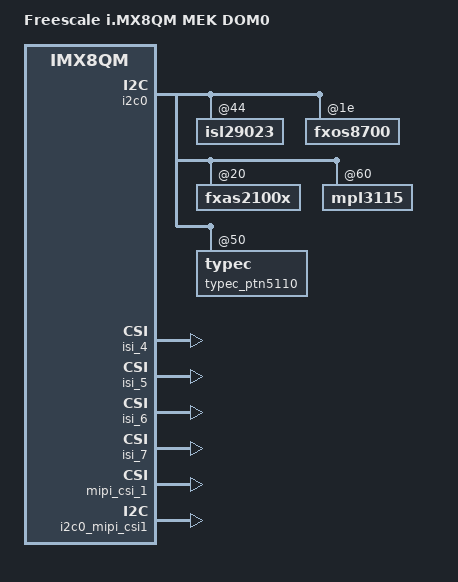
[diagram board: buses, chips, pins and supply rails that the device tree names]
/*
 * Copyright 2018 NXP
 *
 * This program is free software; you can redistribute it and/or
 * modify it under the terms of the GNU General Public License
 * as published by the Free Software Foundation; either version 2
 * of the License, or (at your option) any later version.
 *
 * This program is distributed in the hope that it will be useful,
 * but WITHOUT ANY WARRANTY; without even the implied warranty of
 * MERCHANTABILITY or FITNESS FOR A PARTICULAR PURPOSE.  See the
 * GNU General Public License for more details.
 */

/dts-v1/;

/memreserve/ 0x84000000 0x4000000;
/memreserve/ 0x90000000 0x400000;
/memreserve/ 0x90400000 0x2000000;
/memreserve/ 0x92400000 0x2000000;
/memreserve/ 0x94400000 0x1800000;

#include "fsl-imx8qm-mek.dtsi"
#include "fsl-imx8qm-xen.dtsi"

/ {
	model = "Freescale i.MX8QM MEK DOM0";
	compatible = "fsl,imx8qm-mek", "fsl,imx8qm";

	chosen {
		#address-cells = <2>;
		#size-cells = <2>;

		/* Could be updated by U-Boot */
		module@0 {
			bootargs = "earlycon=xen console=hvc0 loglevel=8 root=/dev/mmcblk1p2 rw  rootwait";
			compatible = "xen,linux-zimage", "xen,multiboot-module";
			reg = <0x00000000 0x80a00000 0x00000000 0xf93a00>;
               };
	};

	domu {
		/*
		 * There are 5 MUs, 0A is used by Dom0, 1A is used
		 * by ATF, so for DomU, 2A/3A/4A could be used.
		 * SC_R_MU_0A
		 * SC_R_MU_1A
		 * SC_R_MU_2A
		 * SC_R_MU_3A
		 * SC_R_MU_4A
		 * The rsrcs and pads will be configured by uboot scu_rm cmd
		 */
		#address-cells = <1>;
		#size-cells = <0>;
		doma {
			compatible = "xen,domu";
			/*
			 * The name entry in VM configuration file
			 * needs to be same as here.
			 */
			domain_name = "DomU";
			/*
			 * The reg property will be updated by U-Boot to
			 * reflect the partition id.
			 */
			reg = <0>;
			init_on_rsrcs = <
				SC_R_MU_2A
			>;
			rsrcs = <
				SC_R_MU_6A
				SC_R_GPU_0_PID0
				SC_R_GPU_0_PID1
				SC_R_GPU_0_PID2
				SC_R_GPU_0_PID3
				SC_R_LVDS_0
				SC_R_LVDS_0_I2C_0
				SC_R_LVDS_0_PWM_0
				SC_R_DC_0
				SC_R_DC_0_BLIT0
				SC_R_DC_0_BLIT1
				SC_R_DC_0_BLIT2
				SC_R_DC_0_BLIT_OUT
				SC_R_DC_0_CAPTURE0
				SC_R_DC_0_CAPTURE1
				SC_R_DC_0_WARP
				SC_R_DC_0_INTEGRAL0
				SC_R_DC_0_INTEGRAL1
				SC_R_DC_0_VIDEO0
				SC_R_DC_0_VIDEO1
				SC_R_DC_0_FRAC0
				SC_R_DC_0_FRAC1
				SC_R_DC_0_PLL_0
				SC_R_DC_0_PLL_1
				SC_R_MIPI_0
				SC_R_MIPI_0_I2C_0
				SC_R_MIPI_0_I2C_1
				SC_R_MIPI_0_PWM_0
				SC_R_HDMI
				SC_R_HDMI_PLL_0
				SC_R_HDMI_PLL_1
				SC_R_HDMI_I2C_0
				SC_R_HDMI_I2S
				SC_R_SDHC_0
				SC_R_USB_0
				SC_R_USB_0_PHY
				SC_R_UART_1
				SC_R_DMA_0_CH14
				SC_R_DMA_0_CH15
				SC_R_MU_2A
				/* pcie */
				SC_R_PCIE_B
				SC_R_PCIE_A
				SC_R_SERDES_0
				SC_R_HSIO_GPIO
				/*vpu*/
				SC_R_VPU
				SC_R_VPU_PID0
				SC_R_VPU_PID1
				SC_R_VPU_PID2
				SC_R_VPU_PID3
				SC_R_VPU_PID4
				SC_R_VPU_PID5
				SC_R_VPU_PID6
				SC_R_VPU_PID7
				SC_R_VPU_DEC_0
				SC_R_VPU_ENC_0
				SC_R_VPU_ENC_1
				SC_R_VPU_TS_0
				SC_R_VPU_MU_0
				SC_R_VPU_MU_1
				SC_R_VPU_MU_2
				SC_R_VPU_MU_3
				/* crypto */
				SC_R_CAAM_JR2
				SC_R_CAAM_JR2_OUT
				SC_R_CAAM_JR3
				SC_R_CAAM_JR3_OUT
				/* Camera */
				SC_R_ISI_CH0
				SC_R_ISI_CH1
				SC_R_ISI_CH2
				SC_R_ISI_CH3
				SC_R_MIPI_0
				SC_R_MIPI_0_PWM_0
				SC_R_MIPI_0_I2C_0
				SC_R_MIPI_0_I2C_1
				SC_R_CSI_0
				SC_R_CSI_0_PWM_0
				SC_R_CSI_0_I2C_0
				/* usbotg3 */
				SC_R_USB_2
				SC_R_USB_2_PHY
			>;
			pads = <
				/* i2c1_lvds1 */
				SC_P_LVDS1_I2C1_SCL
				SC_P_LVDS1_I2C1_SDA
				/* emmc */
				SC_P_EMMC0_CLK
				SC_P_EMMC0_CMD
				SC_P_EMMC0_DATA0
				SC_P_EMMC0_DATA1
				SC_P_EMMC0_DATA2
				SC_P_EMMC0_DATA3
				SC_P_EMMC0_DATA4
				SC_P_EMMC0_DATA5
				SC_P_EMMC0_DATA6
				SC_P_EMMC0_DATA7
				SC_P_EMMC0_STROBE
				SC_P_EMMC0_RESET_B
				/* usb otg */
				SC_P_USB_SS3_TC0
				/* uart1 */
				SC_P_UART1_RX
				SC_P_UART1_TX
				SC_P_UART1_CTS_B
				SC_P_UART1_RTS_B
				SC_P_QSPI1A_DQS
				/* pciea */
				SC_P_PCIE_CTRL0_CLKREQ_B
				SC_P_PCIE_CTRL0_WAKE_B
				SC_P_PCIE_CTRL0_PERST_B
				SC_P_LVDS1_I2C0_SDA
				SC_P_USDHC2_RESET_B
				/*usbotgs typec */
				SC_P_QSPI1A_SS0_B
				SC_P_USB_SS3_TC3
				SC_P_QSPI1A_DATA0
				/* isl29023 */
				SC_P_USDHC2_WP

				>;
			gpios = <&gpio1 13 GPIO_ACTIVE_LOW>,
				<&gpio1 27 GPIO_ACTIVE_LOW>,
				<&gpio4 6 GPIO_ACTIVE_LOW>,
				<&gpio4 9 GPIO_ACTIVE_LOW>,
				<&gpio4 11 GPIO_ACTIVE_HIGH>,
				<&gpio4 19 GPIO_ACTIVE_HIGH>,
				<&gpio4 26 GPIO_ACTIVE_HIGH>,
				<&gpio4 27 GPIO_ACTIVE_LOW>,
				<&gpio4 29 GPIO_ACTIVE_LOW>;
		};
	};

	reserved-memory {
		/* global autoconfigured region for contiguous allocations */
		linux,cma {
			compatible = "shared-dma-pool";
			reusable;
			size = <0 0x28000000>;
			alloc-ranges = <0 0xa0000000 0 0x40000000>;
			linux,cma-default;
		};
	};

	display-subsystem {
		compatible = "fsl,imx-display-subsystem";
		ports = <&dpu2_disp0>, <&dpu2_disp1>;
	};

	/* Passthrough to domu */
	mu2: mu@5d1d0000 {
		compatible = "fsl,imx8-mu";
		reg = <0x0 0x5d1d0000 0x0 0x10000>;
		interrupts = <GIC_SPI 178 IRQ_TYPE_LEVEL_HIGH>;
		fsl,scu_ap_mu_id = <0>;
		xen,passthrough;
		status = "disabled";
	};

	cm41: cm41@1 {
		fsl,sc_rsrc_id = <SC_R_M4_1_PID0>,
				 <SC_R_M4_1_PID1>,
				 <SC_R_M4_1_PID2>,
				 <SC_R_M4_1_PID3>,
				 <SC_R_M4_1_PID4>;
		#stream-id-cells = <1>;
		iommus = <&smmu>;
		xen,passthrough;
	};

	irqsteer_cm41: irqsteer_cm41@0x51080000 {
		reg = <0x0 0x51080000 0x0 0x10000>;
		xen,passthrough;
	};

	mu_rpmsg1_b: mu_rpmsg1_b@0x5d2a0000 {
		reg = <0x0 0x5d2a0000 0x0 0x10000>;
		xen,passthrough;
	};

	decoder_boot_mem: decoder_boot_mem@0x84000000 {
		xen,passthrough;
		reg = <0 0x84000000 0 0x2000000>;
	};

	encoder_boot_mem: encoder_boot_mem@0x86000000 {
		xen,passthrough;
		reg = <0 0x86000000 0 0x2000000>;
	};

	rpmsg_reserved_mem: rpmsg_reserved_mem@90000000 {
		reg = <0x0 0x90000000 0x0 0x400000>;
		xen,passthrough;
	};

	decoder_rpc_mem: decoder_rpc_mem@0x90400000 {
		xen,passthrough;
		reg = <0 0x90400000 0 0x1000000>;
	};

	encoder_rpc_mem: encoder_rpc_mem@0x91400000 {
		xen,passthrough;
		reg = <0 0x91400000 0 0x1000000>;
	};

	decoder_str_mem: str_mem@0x94400000 {
		xen,passthrough;
		reg = <0 0x94400000 0 0x1800000>;
	};

	gpio4_dummy: gpio4_dummy@0{
		/* Passthrough gpio4 interrupt to DomU */
		interrupts = <GIC_SPI 140 IRQ_TYPE_LEVEL_HIGH>;
		xen,passthrough;
	};
};

&mu_rpmsg1 {
	xen,passthrough;
};

&rpmsg1 {
	/* Let xen not create mapping form dom0 */
	/delete-property/ reg;
	status = "disabled";
};

&mu_6_lpcg {
	xen,passthrough;
};

&mu_6_lpcg_b {
	xen,passthrough;
};

&mu_7_lpcg_b {
	xen,passthrough;
};

&usbotg1_lpcg {
	xen,passthrough;
};

&sdhc1_lpcg {
	xen,passthrough;
};

&lpuart1 {
	xen,passthrough;
};

&lpuart1_lpcg {
	xen,passthrough;
};

/*
 * DomU CM41 use this, but DomU OS not need this,
 * because smmu is enabled for CM41, so need to
 *create the lpuart2 mapping in SMMU
 */
&lpuart2 {
	xen,passthrough;
};

&lpuart2_lpcg {
	xen,passthrough;
};

&di_lvds0_lpcg {
	xen,passthrough;
};

&dc_0_lpcg {
	xen,passthrough;
};

&edma01 {
	#stream-id-cells = <1>;
	xen,passthrough;
	fsl,sc_rsrc_id = <SC_R_DMA_0_CH14>,
			 <SC_R_DMA_0_CH15>;
};

/*
 * SMMU, for simplity, we put all all the resources needs to programmed
 * for VPU under vpu_decoder node, then in cfg file only add vpu_decoder
 * in dt_dev is enough.
 */
&smmu {
	mmu-masters = <&dpu1 0x13>, <&gpu_3d0 0x15>,
		      <&usdhc1 0x12>, <&usbotg1 0x11>,
		      <&edma01 0x10>, <&cm41 0x09>, <&pciea 0x08>,
		      <&vpu_decoder 0x7>, <&crypto 0x6>, <&isi_0 0x5>,
		      <&usbotg3 0x4>;
};

&lvds_region1 {
	xen,passthrough;
};

&irqsteer_lvds0 {
	xen,passthrough;
};

&i2c1_lvds0 {
	xen,passthrough;
};

&ldb1_phy {
	xen,passthrough;
};

&ldb1 {
	xen,passthrough;
};

&dpu1_intsteer {
	xen,passthrough;
};

&dpu1 {
	xen,passthrough;
	#stream-id-cells = <1>;
	iommus = <&smmu>;
};

&pixel_combiner1 {
	xen,passthrough;
};

&prg1 {
	xen,passthrough;
};

&prg2 {
	xen,passthrough;
};

&prg3 {
	xen,passthrough;
};

&prg4 {
	xen,passthrough;
};

&prg5 {
	xen,passthrough;
};

&prg6 {
	xen,passthrough;
};

&prg7 {
	xen,passthrough;
};

&prg8 {
	xen,passthrough;
};

&prg9 {
	xen,passthrough;
};

&dpr1_channel1 {
	xen,passthrough;
};

&dpr1_channel2 {
	xen,passthrough;
};

&dpr1_channel3 {
	xen,passthrough;
};

&dpr2_channel1 {
	xen,passthrough;
};

&dpr2_channel2 {
	xen,passthrough;
};

&dpr2_channel3 {
	xen,passthrough;
};

/* GPU */
&pd_gpu0 {
	xen,passthrough;
};

&gpu_3d0 {
	xen,passthrough;
	#stream-id-cells = <1>;
	iommus = <&smmu>;
};

&imx8_gpu_ss {
	cores = <&gpu_3d1>;
	/delete-property/ reg;
	/delete-property/ reg-names;
};

&sata {
	status = "disabled";
};

&usdhc1 {
	xen,passthrough;
	#stream-id-cells = <1>;
	iommus = <&smmu>;
};

&usbotg1 {
	/* Hack reg */
	reg = <0x0 0x5b0d0000 0x0 0x1000>;
	xen,passthrough;
	#stream-id-cells = <1>;
	iommus = <&smmu>;
};

&usbmisc1 {
	/* Hack */
	/delete-property/ reg;
	status = "disabled";
};

&usbphy1 {
	reg = <0x0 0x5b100000 0x0 0x1000>;
	xen,passthrough;
};

&hsio {
	xen,passthrough;
};

&hsio_pcie_x2_lpcg {
	xen,passthrough;
};

&hsio_phy_x2_lpcg {
	xen,passthrough;
};

&hsio_pcie_x2_crr2_lpcg {
	xen,passthrough;
};

&hsio_pcie_x1_lpcg {
	xen,passthrough;
};

&pciea {
       #stream-id-cells = <1>;
       iommus = <&smmu>;
       xen,passthrough;
};

&pcieb {
       xen,passthrough;
};

&gpio1 {
	xen,shared;
};

&gpt0 {
	/delete-property/ interrupts;
	status = "disabled";
};

&gpio4 {
	/*
	 * Use GPT0 interrupt for hack
	 * This could be removed when interrupt sharing be supported.
	 */
	interrupts = <GIC_SPI 80 IRQ_TYPE_LEVEL_HIGH>;
	xen,domu-irq;
	xen,shared;
};

&dsp {
       xen,passthrough;
};

&mu_m0 {
	xen,passthrough;
};

&mu1_m0 {
	xen,passthrough;
};

&mu2_m0 {
	xen,passthrough;
};

&vpu_decoder {
       #stream-id-cells = <1>;
       iommus = <&smmu>;
       xen,passthrough;
       fsl,sc_rsrc_id = <SC_R_VPU>,
			<SC_R_VPU_PID0>,
			<SC_R_VPU_PID1>,
			<SC_R_VPU_PID2>,
			<SC_R_VPU_PID3>,
			<SC_R_VPU_PID4>,
			<SC_R_VPU_PID5>,
			<SC_R_VPU_PID6>,
			<SC_R_VPU_PID7>,
			<SC_R_VPU_DEC_0>,
			<SC_R_VPU_ENC_0>,
			<SC_R_VPU_ENC_1>,
			<SC_R_VPU_TS_0>,
			<SC_R_VPU_MU_0>,
			<SC_R_VPU_MU_1>,
			<SC_R_VPU_MU_2>,
			<SC_R_VPU_MU_3>;
};

&vpu_decoder_csr {
	xen,passthrough;
};

&vpu_encoder {
       iommus = <&smmu>;
       #stream-id-cells = <1>;
       xen,passthrough;
};

&crypto {
	xen,passthrough;
	iommus = <&smmu>;
	#stream-id-cells = <1>;
	/* JR1 is not used by Linux */
	fsl,sc_rsrc_id = <SC_R_CAAM_JR2>, <SC_R_CAAM_JR2_OUT>,
			 <SC_R_CAAM_JR3>, <SC_R_CAAM_JR3_OUT>;
};

&sec_jr2 {
	xen,passthrough;
};

&sec_jr3 {
	xen,passthrough;
};

&caam_sm {
	xen,passthrough;
};

&i2c0 {
	isl29023@44 {
		xen,passthrough;
	};

	fxos8700@1e {
		xen,passthrough;
	};

	fxas2100x@20 {
		xen,passthrough;
	};

	mpl3115@60 {
		xen,passthrough;
	};

	typec_ptn5110: typec@50 {
		xen,passthrough;
	};
};

/* Camera */
&img_pdma_0_lpcg {
	xen,passthrough;
};

&img_pdma_1_lpcg {
	xen,passthrough;
};

&img_pdma_2_lpcg {
	xen,passthrough;
};

&img_pdma_3_lpcg {
	xen,passthrough;
};

&mipi_csi_0_lpcg {
	xen,passthrough;
};

&img_pxl_link_csi0_lpcg {
	xen,passthrough;
};

&gpio0_mipi_csi0 {
	xen,passthrough;
};

&irqsteer_csi0 {
	xen,passthrough;
};

&isi_0 {
	xen,passthrough;
	#stream-id-cells = <1>;
	iommus = <&smmu>;
	fsl,sc_rsrc_id = <SC_R_ISI_CH0>,
			 <SC_R_ISI_CH1>,
			 <SC_R_ISI_CH2>,
			 <SC_R_ISI_CH3>;
};

&isi_1 {
	xen,passthrough;
};

&isi_2 {
	xen,passthrough;
};

&isi_3 {
	xen,passthrough;
};

&mipi_csi_0 {
	xen,passthrough;
};

&i2c0_mipi_csi0 {
	xen,passthrough;
};

&isi_4 {
	status = "okay";
};

&isi_5 {
	status = "okay";
};

&isi_6 {
	status = "okay";
};

&isi_7 {
	status = "okay";
};

&mipi_csi_1 {
	status = "okay";
};

&i2c0_mipi_csi1 {
	status = "okay";
};

&usbotg3_lpcg {
	xen,passthrough;
};

&usbotg3 {
	xen,passthrough;
	#stream-id-cells = <1>;
	iommus = <&smmu>;
};
